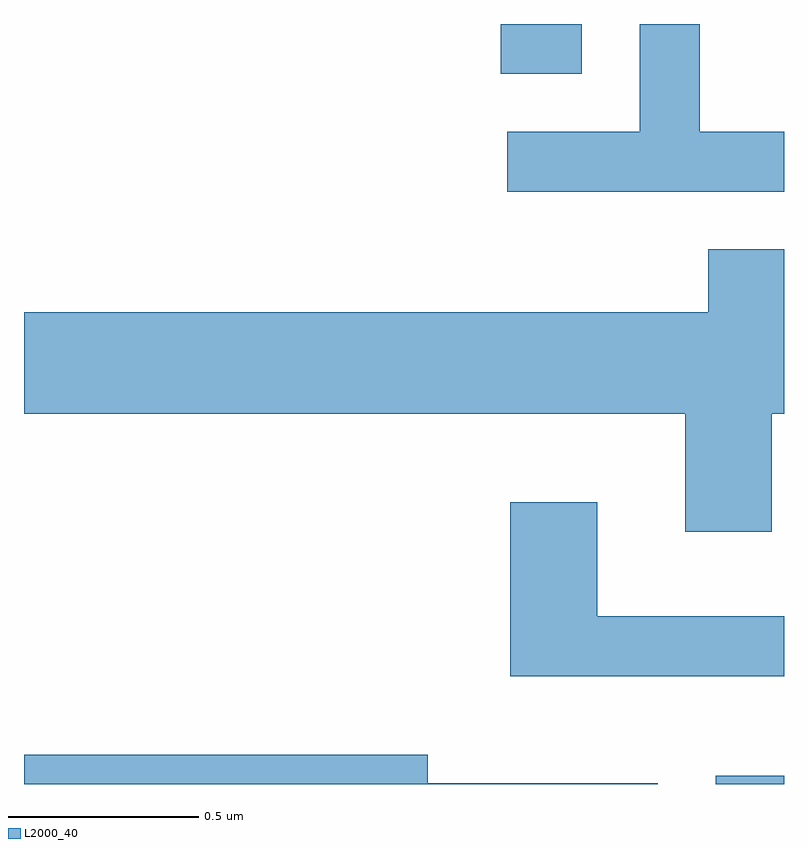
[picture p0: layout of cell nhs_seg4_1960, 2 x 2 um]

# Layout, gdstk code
import gdstk
lib = gdstk.Library(unit=1e-6, precision=1e-09)
def R(c, l, rs):  # rectangles x0, y0, x1, y1
    for r in rs: c.add(gdstk.rectangle(r[:2], r[2:], *l))
def P(c, l, *ps):  # polygons
    for p in ps: c.add(gdstk.Polygon(p, *l))
L2000_40 = (2000, 40)

nhs_seg4_1960 = lib.new_cell('nhs_seg4_1960')
R(nhs_seg4_1960, L2000_40, [(201.431,1295.982,201.611,1296.004), (200.866,1297.851,201.079,1297.982)])
P(nhs_seg4_1960, L2000_40, [(201.611,1297.699),(201.389,1297.699),(201.389,1297.982),(201.231,1297.982),(201.231,1297.699),(200.883,1297.699),(200.883,1297.541),(201.611,1297.541)],
  [(201.579,1296.956),(201.611,1296.956),(201.611,1297.389),(201.411,1297.389),(201.411,1297.224),(199.611,1297.224),(199.611,1296.956),(201.351,1296.956),(201.351,1296.646),(201.579,1296.646)],
  [(201.611,1296.424),(201.119,1296.424),(201.119,1296.724),(200.891,1296.724),(200.891,1296.266),(201.611,1296.266)],
  [(201.279,1295.984),(200.674,1295.984),(200.674,1296.059),(199.611,1296.059),(199.611,1295.982),(201.279,1295.982)])

lib.write_gds('nhs_seg4_1960.gds')
